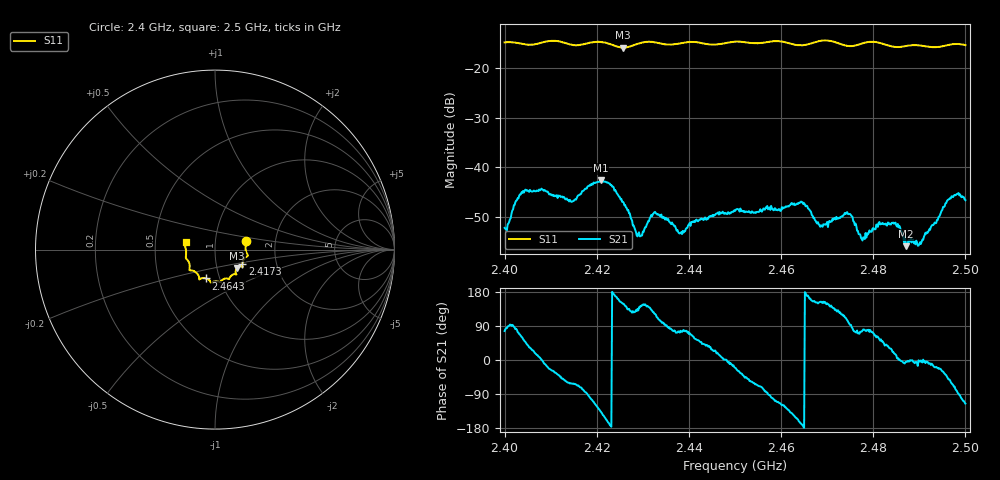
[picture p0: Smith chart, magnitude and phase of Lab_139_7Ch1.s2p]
# Hz S RI R 50
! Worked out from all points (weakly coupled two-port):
!   601 points, 2.4 GHz to 2.5 GHz, reference 50 ohm
!   highest |S21| = -42.59 dB at 2.4208 GHz (marker M1); lowest = -55.8 dB at 2.4872 GHz (marker M2)
!   lowest |S11| = -15.9 dB at 2.4257 GHz (marker M3), VSWR 1.38, Z = 62.4 - j13.1 ohm
!   |S11| at or under -10 dB: start of sweep to end of sweep
!   S12 and S22 are empty: the file has one direction only
!   S11 on the Smith chart (normalised r, x): 2.4 GHz: 1.41, +0.14; 2.4173 GHz: 1.34, -0.23; 2.4643 GHz: 0.86, -0.28; 2.5 GHz: 0.72, +0.06
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2.4e9  0.1732 0.049  0.000583 0.00241  0 0  0 0
2.404167e9  0.1713 0.023  0.0034 0.00445  0 0  0 0
2.4145e9  0.1627 -0.0509  0.00213 -0.00399  0 0  0 0
2.416667e9  0.1533 -0.0747  0.00162 -0.00529  0 0  0 0
2.417333e9  0.1524 -0.0823  0.000757 -0.00596  0 0  0 0
2.420833e9  0.1541 -0.0971  -0.00533 -0.00516  0 0  0 0
2.425667e9  0.1225 -0.1021  -0.00387 0.00236  0 0  0 0
2.429167e9  0.1161 -0.1319  -0.00169 0.00147  0 0  0 0
2.433333e9  0.1128 -0.1369  -0.00108 0.00322  0 0  0 0
2.438333e9  0.0817 -0.1562  0.000579 0.00217  0 0  0 0
2.45e9  0.0295 -0.1806  0.00344 -0.00128  0 0  0 0
2.464333e9  -0.05 -0.1605  -0.00445 -0.000946  0 0  0 0
2.466667e9  -0.0759 -0.1595  -0.00307 0.00131  0 0  0 0
2.468833e9  -0.0872 -0.1659  -0.00227 0.00121  0 0  0 0
2.474667e9  -0.1029 -0.1294  -0.000484 0.00336  0 0  0 0
2.477667e9  -0.1324 -0.116  0.000397 0.00181  0 0  0 0
2.483333e9  -0.1406 -0.0898  0.00232 0.00156  0 0  0 0
2.485333e9  -0.146 -0.069  0.0027 0.000266  0 0  0 0
2.487167e9  -0.1561 -0.0555  0.00162 -0.000138  0 0  0 0
2.490167e9  -0.1625 -0.0399  0.00177 -0.000137  0 0  0 0
2.496667e9  -0.1692 0.024  0.00293 -0.00396  0 0  0 0
2.5e9  -0.1636 0.0422  -0.00199 -0.00426  0 0  0 0
